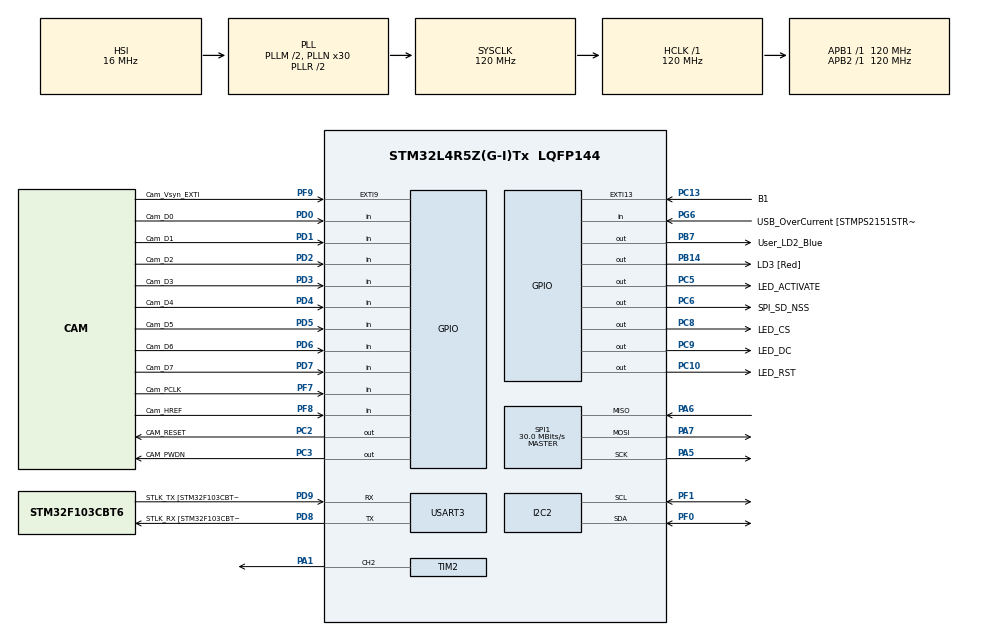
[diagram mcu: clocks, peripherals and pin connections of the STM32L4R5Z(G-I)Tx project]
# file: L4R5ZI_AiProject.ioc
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FATFS._FS_TINY=0
FATFS._MAX_SS=4096
FATFS._USE_LFN=1
I2C2.Timing=0x307075B1
Mcu.Family=STM32L4
Mcu.Name=STM32L4R5Z(G-I)Tx
Mcu.Package=LQFP144
NVIC.EXTI15_10_IRQn=true\:0\:0\:false\:false\:true\:true\:true
NVIC.EXTI9_5_IRQn=true\:0\:0\:true\:false\:true\:true\:true
NVIC.PriorityGroup=NVIC_PRIORITYGROUP_4
PA1.Signal=S_TIM2_CH2
PA13\ (JTMS/SWDIO).Mode=Trace_Asynchronous_SW
PA13\ (JTMS/SWDIO).Signal=SYS_JTMS-SWDIO
PA14\ (JTCK/SWCLK).Mode=Trace_Asynchronous_SW
PA14\ (JTCK/SWCLK).Signal=SYS_JTCK-SWCLK
PA5.Mode=Full_Duplex_Master
PA5.Signal=SPI1_SCK
PA6.Mode=Full_Duplex_Master
PA6.Signal=SPI1_MISO
PA7.Mode=Full_Duplex_Master
PA7.Signal=SPI1_MOSI
PB14.GPIO_Label=LD3 [Red]
PB14.Signal=GPIO_Output
PB3\ (JTDO/TRACESWO).GPIO_Label=SWO
PB3\ (JTDO/TRACESWO).Mode=Trace_Asynchronous_SW
PB3\ (JTDO/TRACESWO).Signal=SYS_JTDO-SWO
PB7.GPIO_Label=User_LD2_Blue
PB7.Signal=GPIO_Output
PC10.GPIO_Label=LED_RST
PC10.Signal=GPIO_Output
PC13.GPIO_Label=B1
PC13.Signal=GPXTI13
PC14-OSC32_IN\ (PC14).Signal=RCC_OSC32_IN
PC15-OSC32_OUT\ (PC15).Signal=RCC_OSC32_OUT
PC2.GPIO_Label=CAM_RESET
PC2.Signal=GPIO_Output
PC3.GPIO_Label=CAM_PWDN
PC3.Signal=GPIO_Output
PC5.GPIO_Label=LED_ACTIVATE
PC5.Signal=GPIO_Output
PC6.GPIO_Label=SPI_SD_NSS
PC6.Signal=GPIO_Output
PC8.GPIO_Label=LED_CS
PC8.Signal=GPIO_Output
PC9.GPIO_Label=LED_DC
PC9.Signal=GPIO_Output
PD0.GPIO_Label=Cam_D0
PD0.Signal=GPIO_Input
PD1.GPIO_Label=Cam_D1
PD1.Signal=GPIO_Input
PD2.GPIO_Label=Cam_D2
PD2.Signal=GPIO_Input
PD3.GPIO_Label=Cam_D3
PD3.Signal=GPIO_Input
PD4.GPIO_Label=Cam_D4
PD4.Signal=GPIO_Input
PD5.GPIO_Label=Cam_D5
PD5.Signal=GPIO_Input
PD6.GPIO_Label=Cam_D6
PD6.Signal=GPIO_Input
PD7.GPIO_Label=Cam_D7
PD7.Signal=GPIO_Input
PD8.GPIO_Label=STLK_RX [STM32F103CBT6_PA3]
PD8.Mode=Asynchronous
PD8.Signal=USART3_TX
PD9.GPIO_Label=STLK_TX [STM32F103CBT6_PA2]
PD9.Mode=Asynchronous
PD9.Signal=USART3_RX
PF0.Mode=I2C
PF0.Signal=I2C2_SDA
PF1.Mode=I2C
PF1.Signal=I2C2_SCL
PF7.GPIO_Label=Cam_PCLK
PF7.Signal=GPIO_Input
PF8.GPIO_Label=Cam_HREF
PF8.Signal=GPIO_Input
PF9.GPIO_Label=Cam_Vsyn_EXTI
PF9.Signal=GPXTI9
PG6.GPIO_Label=USB_OverCurrent [STMPS2151STR_FAULT]
PG6.Signal=GPIO_Input
PG7.GPIO_Label=STLINK_TX
PG7.Signal=LPUART1_TX
PG8.GPIO_Label=STLINK_RX
PG8.Signal=LPUART1_RX
PH0-OSC_IN\ (PH0).Mode=HSE-External-Oscillator
PH0-OSC_IN\ (PH0).Signal=RCC_OSC_IN
PH1-OSC_OUT\ (PH1).Mode=HSE-External-Oscillator
PH1-OSC_OUT\ (PH1).Signal=RCC_OSC_OUT
ProjectManager.HeapSize=0x200
ProjectManager.StackSize=0x400
ProjectManager.TargetToolchain=STM32CubeIDE
RCC.48MHZClocksFreq_Value=24000000
RCC.ADCFreq_Value=96000000
RCC.AHBFreq_Value=120000000
RCC.APB1Freq_Value=120000000
RCC.APB1TimFreq_Value=120000000
RCC.APB2Freq_Value=120000000
RCC.APB2TimFreq_Value=120000000
RCC.CK48CLockSelection=RCC_USBCLKSOURCE_HSI48
RCC.CortexFreq_Value=120000000
RCC.HCLKFreq_Value=120000000
RCC.HSE_VALUE=8000000
RCC.HSI48_VALUE=48000000
RCC.HSI_VALUE=16000000
RCC.LSE_VALUE=32768
RCC.MSI_VALUE=4000000
RCC.PLLM1=2
RCC.PLLMUL=RCC_PLL_MUL9
RCC.PLLN=30
RCC.PLLSAI1N=12
RCC.PLLSourceVirtual=RCC_PLLSOURCE_HSI
RCC.PRESCALERUSB=RCC_USBCLKSOURCE_PLL_DIV1_5
RCC.SYSCLKFreq_VALUE=120000000
RCC.SYSCLKSource=RCC_SYSCLKSOURCE_PLLCLK
RCC.SYSCLKSourceVirtual=RCC_SYSCLKSOURCE_PLLCLK
RCC.USBFreq_Value=48000000
RCC.VCOOutputFreq_Value=240000000
SH.S_TIM2_CH2.0=TIM2_CH2,PWM Generation2 CH2
SPI1.BaudRatePrescaler=SPI_BAUDRATEPRESCALER_4
SPI1.CalculateBaudRate=30.0 MBits/s
SPI1.DataSize=SPI_DATASIZE_8BIT
SPI1.Direction=SPI_DIRECTION_2LINES
SPI1.Mode=SPI_MODE_MASTER
SPI1.VirtualType=VM_MASTER
TIM2.AutoReloadPreload=TIM_AUTORELOAD_PRELOAD_DISABLE
TIM2.Channel-PWM\ Generation2\ CH2=TIM_CHANNEL_2
TIM2.Period=1
TIM2.Prescaler=5-1
TIM2.Pulse-PWM\ Generation2\ CH2=0
TIM6.Period=65535
TIM6.Prescaler=3-1
TIM7.Prescaler=12-1
USART3.VirtualMode-Asynchronous=VM_ASYNC
VP_FATFS_VS_Generic.Mode=User_defined
VP_TIM2_VS_ClockSourceINT.Mode=Internal
VP_TIM6_VS_ClockSourceINT.Mode=Enable_Timer
VP_TIM7_VS_ClockSourceINT.Mode=Enable_Timer
board=NUCLEO-L4R5ZI

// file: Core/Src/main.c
/* USER CODE BEGIN Header */
/**
  ******************************************************************************
  * @file           : main.c
  * @brief          : Main program body
  ******************************************************************************
  * @attention
  *
  * <h2><center>&copy; Copyright (c) 2021 STMicroelectronics.
  * All rights reserved.</center></h2>
  *
  * This software component is licensed by ST under BSD 3-Clause license,
  * the "License"; You may not use this file except in compliance with the
  * License. You may obtain a copy of the License at:
  *                        opensource.org/licenses/BSD-3-Clause
  *
  ******************************************************************************
  */
/* USER CODE END Header */
#include "main.h"
#include "fatfs.h"

/* USER CODE BEGIN Includes */
#include "ov7670Init.h"
#include "ImageProccess.h"
#include "ILI9341_STM32_Driver.h"
#include "ILI9341_GFX.h"
#include "fatfs_sd.h"
#include <string.h>
#include <stdio.h>
#include "sdCard.h"
/* USER CODE END Includes */

I2C_HandleTypeDef hi2c2;

SPI_HandleTypeDef hspi1;

TIM_HandleTypeDef htim2;
TIM_HandleTypeDef htim6;
TIM_HandleTypeDef htim7;

UART_HandleTypeDef huart3;

void SystemClock_Config(void);
static void MX_GPIO_Init(void);
static void MX_USART3_UART_Init(void);
static void MX_TIM6_Init(void);
static void MX_TIM7_Init(void);
static void MX_TIM2_Init(void);
static void MX_I2C2_Init(void);
static void MX_SPI1_Init(void);

int main(void)
{

  /* MCU Configuration--------------------------------------------------------*/

  /* Reset of all peripherals, Initializes the Flash interface and the Systick. */
  HAL_Init();

  /* Configure the system clock */
  SystemClock_Config();

  /* Initialize all configured peripherals */
  MX_GPIO_Init();
  MX_USART3_UART_Init();
  MX_TIM6_Init();
  MX_TIM7_Init();
  MX_TIM2_Init();
  MX_I2C2_Init();
  MX_FATFS_Init();
  MX_SPI1_Init();
  /* USER CODE BEGIN 2 */

  //Start timer6 and timer7 counting
  HAL_TIM_Base_Start(&htim6);
  HAL_TIM_Base_Start(&htim7);

  //APB1 Bus 120Mhz, Prescaler value = 4
  //Obtained frequency = 120/ (5) = 24 Mhz

  //Create PWM wave
  HAL_TIM_PWM_Start(&htim2, TIM_CHANNEL_2);
  __HAL_TIM_SetCompare(&htim2,TIM_CHANNEL_2,1);

  /***** SD CARD Mounting and NSS PIN Settings *******/
	mountSDcard();

  HAL_GPIO_WritePin(GPIOC, SPI_SD_NSS_Pin, SET);

  /*********ILI9341 Initialization************/

  //Initialize LED settings

  //initial driver setup to drive ili9341
  ILI9341_Init();
   // Give 100 ms delay for initializing
   HAL_Delay(100);

  /***********OV7670 Cam Codes...****************/

  ConfigurePWDNandRESETpins();

  HAL_Delay(20);

   ov7670_init();

   HAL_Delay(1000);

ILI9341_Draw_MultiText("Hold the image you want to save inside the rectangle.", 130, RED, BLACK);

  /* USER CODE END 2 */

  /* Infinite loop */
  /* USER CODE BEGIN WHILE */
  while (1)
  {

	 GetFramesFromOvCam();

    /* USER CODE END WHILE */

  }
}

void SystemClock_Config(void)
{
  RCC_OscInitTypeDef RCC_OscInitStruct = {0};
  RCC_ClkInitTypeDef RCC_ClkInitStruct = {0};

  /** Configure the main internal regulator output voltage
  */
  if (HAL_PWREx_ControlVoltageScaling(PWR_REGULATOR_VOLTAGE_SCALE1_BOOST) != HAL_OK)
  {
    Error_Handler();
  }
  /** Initializes the RCC Oscillators according to the specified parameters
  * in the RCC_OscInitTypeDef structure.
  */
  RCC_OscInitStruct.OscillatorType = RCC_OSCILLATORTYPE_HSI;
  RCC_OscInitStruct.HSIState = RCC_HSI_ON;
  RCC_OscInitStruct.HSICalibrationValue = RCC_HSICALIBRATION_DEFAULT;
  RCC_OscInitStruct.PLL.PLLState = RCC_PLL_ON;
  RCC_OscInitStruct.PLL.PLLSource = RCC_PLLSOURCE_HSI;
  RCC_OscInitStruct.PLL.PLLM = 2;
  RCC_OscInitStruct.PLL.PLLN = 30;
  RCC_OscInitStruct.PLL.PLLP = RCC_PLLP_DIV2;
  RCC_OscInitStruct.PLL.PLLQ = RCC_PLLQ_DIV2;
  RCC_OscInitStruct.PLL.PLLR = RCC_PLLR_DIV2;
  if (HAL_RCC_OscConfig(&RCC_OscInitStruct) != HAL_OK)
  {
    Error_Handler();
  }
  /** Initializes the CPU, AHB and APB buses clocks
  */
  RCC_ClkInitStruct.ClockType = RCC_CLOCKTYPE_HCLK|RCC_CLOCKTYPE_SYSCLK
                              |RCC_CLOCKTYPE_PCLK1|RCC_CLOCKTYPE_PCLK2;
  RCC_ClkInitStruct.SYSCLKSource = RCC_SYSCLKSOURCE_PLLCLK;
  RCC_ClkInitStruct.AHBCLKDivider = RCC_SYSCLK_DIV1;
  RCC_ClkInitStruct.APB1CLKDivider = RCC_HCLK_DIV1;
  RCC_ClkInitStruct.APB2CLKDivider = RCC_HCLK_DIV1;

  if (HAL_RCC_ClockConfig(&RCC_ClkInitStruct, FLASH_LATENCY_5) != HAL_OK)
  {
    Error_Handler();
  }
}

static void MX_I2C2_Init(void)
{

  hi2c2.Instance = I2C2;
  hi2c2.Init.Timing = 0x307075B1;
  hi2c2.Init.OwnAddress1 = 0;
  hi2c2.Init.AddressingMode = I2C_ADDRESSINGMODE_7BIT;
  hi2c2.Init.DualAddressMode = I2C_DUALADDRESS_DISABLE;
  hi2c2.Init.OwnAddress2 = 0;
  hi2c2.Init.OwnAddress2Masks = I2C_OA2_NOMASK;
  hi2c2.Init.GeneralCallMode = I2C_GENERALCALL_DISABLE;
  hi2c2.Init.NoStretchMode = I2C_NOSTRETCH_DISABLE;
  if (HAL_I2C_Init(&hi2c2) != HAL_OK)
  {
    Error_Handler();
  }
  /** Configure Analogue filter
  */
  if (HAL_I2CEx_ConfigAnalogFilter(&hi2c2, I2C_ANALOGFILTER_ENABLE) != HAL_OK)
  {
    Error_Handler();
  }
  /** Configure Digital filter
  */
  if (HAL_I2CEx_ConfigDigitalFilter(&hi2c2, 0) != HAL_OK)
  {
    Error_Handler();
  }

}

static void MX_SPI1_Init(void)
{

  /* SPI1 parameter configuration*/
  hspi1.Instance = SPI1;
  hspi1.Init.Mode = SPI_MODE_MASTER;
  hspi1.Init.Direction = SPI_DIRECTION_2LINES;
  hspi1.Init.DataSize = SPI_DATASIZE_8BIT;
  hspi1.Init.CLKPolarity = SPI_POLARITY_LOW;
  hspi1.Init.CLKPhase = SPI_PHASE_1EDGE;
  hspi1.Init.NSS = SPI_NSS_SOFT;
  hspi1.Init.BaudRatePrescaler = SPI_BAUDRATEPRESCALER_4;
  hspi1.Init.FirstBit = SPI_FIRSTBIT_MSB;
  hspi1.Init.TIMode = SPI_TIMODE_DISABLE;
  hspi1.Init.CRCCalculation = SPI_CRCCALCULATION_DISABLE;
  hspi1.Init.CRCPolynomial = 7;
  hspi1.Init.CRCLength = SPI_CRC_LENGTH_DATASIZE;
  hspi1.Init.NSSPMode = SPI_NSS_PULSE_ENABLE;
  if (HAL_SPI_Init(&hspi1) != HAL_OK)
  {
    Error_Handler();
  }

}

static void MX_TIM2_Init(void)
{

  TIM_ClockConfigTypeDef sClockSourceConfig = {0};
  TIM_MasterConfigTypeDef sMasterConfig = {0};
  TIM_OC_InitTypeDef sConfigOC = {0};

  htim2.Instance = TIM2;
  htim2.Init.Prescaler = 5-1;
  htim2.Init.CounterMode = TIM_COUNTERMODE_UP;
  htim2.Init.Period = 1;
  htim2.Init.ClockDivision = TIM_CLOCKDIVISION_DIV1;
  htim2.Init.AutoReloadPreload = TIM_AUTORELOAD_PRELOAD_DISABLE;
  if (HAL_TIM_Base_Init(&htim2) != HAL_OK)
  {
    Error_Handler();
  }
  sClockSourceConfig.ClockSource = TIM_CLOCKSOURCE_INTERNAL;
  if (HAL_TIM_ConfigClockSource(&htim2, &sClockSourceConfig) != HAL_OK)
  {
    Error_Handler();
  }
  if (HAL_TIM_PWM_Init(&htim2) != HAL_OK)
  {
    Error_Handler();
  }
  sMasterConfig.MasterOutputTrigger = TIM_TRGO_RESET;
  sMasterConfig.MasterSlaveMode = TIM_MASTERSLAVEMODE_DISABLE;
  if (HAL_TIMEx_MasterConfigSynchronization(&htim2, &sMasterConfig) != HAL_OK)
  {
    Error_Handler();
  }
  sConfigOC.OCMode = TIM_OCMODE_PWM1;
  sConfigOC.Pulse = 0;
  sConfigOC.OCPolarity = TIM_OCPOLARITY_HIGH;
  sConfigOC.OCFastMode = TIM_OCFAST_DISABLE;
  if (HAL_TIM_PWM_ConfigChannel(&htim2, &sConfigOC, TIM_CHANNEL_2) != HAL_OK)
  {
    Error_Handler();
  }
  HAL_TIM_MspPostInit(&htim2);

}

static void MX_TIM6_Init(void)
{

  TIM_MasterConfigTypeDef sMasterConfig = {0};

  htim6.Instance = TIM6;
  htim6.Init.Prescaler = 3-1;
  htim6.Init.CounterMode = TIM_COUNTERMODE_UP;
  htim6.Init.Period = 65535;
  htim6.Init.AutoReloadPreload = TIM_AUTORELOAD_PRELOAD_DISABLE;
  if (HAL_TIM_Base_Init(&htim6) != HAL_OK)
  {
    Error_Handler();
  }
  sMasterConfig.MasterOutputTrigger = TIM_TRGO_RESET;
  sMasterConfig.MasterSlaveMode = TIM_MASTERSLAVEMODE_DISABLE;
  if (HAL_TIMEx_MasterConfigSynchronization(&htim6, &sMasterConfig) != HAL_OK)
  {
    Error_Handler();
  }

}

static void MX_TIM7_Init(void)
{

  TIM_MasterConfigTypeDef sMasterConfig = {0};

  htim7.Instance = TIM7;
  htim7.Init.Prescaler = 12-1;
  htim7.Init.CounterMode = TIM_COUNTERMODE_UP;
  htim7.Init.Period = 65535;
  htim7.Init.AutoReloadPreload = TIM_AUTORELOAD_PRELOAD_DISABLE;
  if (HAL_TIM_Base_Init(&htim7) != HAL_OK)
  {
    Error_Handler();
  }
  sMasterConfig.MasterOutputTrigger = TIM_TRGO_RESET;
  sMasterConfig.MasterSlaveMode = TIM_MASTERSLAVEMODE_DISABLE;
  if (HAL_TIMEx_MasterConfigSynchronization(&htim7, &sMasterConfig) != HAL_OK)
  {
    Error_Handler();
  }

}

static void MX_USART3_UART_Init(void)
{

  huart3.Instance = USART3;
  huart3.Init.BaudRate = 115200;
  huart3.Init.WordLength = UART_WORDLENGTH_8B;
  huart3.Init.StopBits = UART_STOPBITS_1;
  huart3.Init.Parity = UART_PARITY_NONE;
  huart3.Init.Mode = UART_MODE_TX_RX;
  huart3.Init.HwFlowCtl = UART_HWCONTROL_NONE;
  huart3.Init.OverSampling = UART_OVERSAMPLING_16;
  huart3.Init.OneBitSampling = UART_ONE_BIT_SAMPLE_DISABLE;
  huart3.Init.ClockPrescaler = UART_PRESCALER_DIV1;
  huart3.AdvancedInit.AdvFeatureInit = UART_ADVFEATURE_NO_INIT;
  if (HAL_UART_Init(&huart3) != HAL_OK)
  {
    Error_Handler();
  }
  if (HAL_UARTEx_SetTxFifoThreshold(&huart3, UART_TXFIFO_THRESHOLD_1_8) != HAL_OK)
  {
    Error_Handler();
  }
  if (HAL_UARTEx_SetRxFifoThreshold(&huart3, UART_RXFIFO_THRESHOLD_1_8) != HAL_OK)
  {
    Error_Handler();
  }
  if (HAL_UARTEx_DisableFifoMode(&huart3) != HAL_OK)
  {
    Error_Handler();
  }

}

static void MX_GPIO_Init(void)
{
  GPIO_InitTypeDef GPIO_InitStruct = {0};

  /* GPIO Ports Clock Enable */
  __HAL_RCC_GPIOC_CLK_ENABLE();
  __HAL_RCC_GPIOF_CLK_ENABLE();
  __HAL_RCC_GPIOH_CLK_ENABLE();
  __HAL_RCC_GPIOA_CLK_ENABLE();
  __HAL_RCC_GPIOB_CLK_ENABLE();
  __HAL_RCC_GPIOD_CLK_ENABLE();
  __HAL_RCC_GPIOG_CLK_ENABLE();
  HAL_PWREx_EnableVddIO2();

  /*Configure GPIO pin Output Level */
  HAL_GPIO_WritePin(GPIOC, CAM_RESET_Pin|CAM_PWDN_Pin|LED_ACTIVATE_Pin|SPI_SD_NSS_Pin
                          |LED_CS_Pin|LED_DC_Pin|LED_RST_Pin, GPIO_PIN_RESET);

  /*Configure GPIO pin Output Level */
  HAL_GPIO_WritePin(GPIOB, LD3_Pin|User_LD2_Blue_Pin, GPIO_PIN_RESET);

  /*Configure GPIO pin : B1_Pin */
  GPIO_InitStruct.Pin = B1_Pin;
  GPIO_InitStruct.Mode = GPIO_MODE_IT_RISING;
  GPIO_InitStruct.Pull = GPIO_NOPULL;
  HAL_GPIO_Init(B1_GPIO_Port, &GPIO_InitStruct);

  /*Configure GPIO pins : Cam_PCLK_Pin Cam_HREF_Pin */
  GPIO_InitStruct.Pin = Cam_PCLK_Pin|Cam_HREF_Pin;
  GPIO_InitStruct.Mode = GPIO_MODE_INPUT;
  GPIO_InitStruct.Pull = GPIO_NOPULL;
  HAL_GPIO_Init(GPIOF, &GPIO_InitStruct);

  /*Configure GPIO pin : Cam_Vsyn_EXTI_Pin */
  GPIO_InitStruct.Pin = Cam_Vsyn_EXTI_Pin;
  GPIO_InitStruct.Mode = GPIO_MODE_IT_RISING;
  GPIO_InitStruct.Pull = GPIO_NOPULL;
  HAL_GPIO_Init(Cam_Vsyn_EXTI_GPIO_Port, &GPIO_InitStruct);

  /*Configure GPIO pins : CAM_RESET_Pin CAM_PWDN_Pin LED_ACTIVATE_Pin SPI_SD_NSS_Pin
                           LED_CS_Pin LED_DC_Pin LED_RST_Pin */
  GPIO_InitStruct.Pin = CAM_RESET_Pin|CAM_PWDN_Pin|LED_ACTIVATE_Pin|SPI_SD_NSS_Pin
                          |LED_CS_Pin|LED_DC_Pin|LED_RST_Pin;
  GPIO_InitStruct.Mode = GPIO_MODE_OUTPUT_PP;
  GPIO_InitStruct.Pull = GPIO_NOPULL;
  GPIO_InitStruct.Speed = GPIO_SPEED_FREQ_LOW;
  HAL_GPIO_Init(GPIOC, &GPIO_InitStruct);

  /*Configure GPIO pins : LD3_Pin User_LD2_Blue_Pin */
  GPIO_InitStruct.Pin = LD3_Pin|User_LD2_Blue_Pin;
  GPIO_InitStruct.Mode = GPIO_MODE_OUTPUT_PP;
  GPIO_InitStruct.Pull = GPIO_NOPULL;
  GPIO_InitStruct.Speed = GPIO_SPEED_FREQ_LOW;
  HAL_GPIO_Init(GPIOB, &GPIO_InitStruct);

  /*Configure GPIO pin : USB_OverCurrent_Pin */
  GPIO_InitStruct.Pin = USB_OverCurrent_Pin;
  GPIO_InitStruct.Mode = GPIO_MODE_INPUT;
  GPIO_InitStruct.Pull = GPIO_NOPULL;
  HAL_GPIO_Init(USB_OverCurrent_GPIO_Port, &GPIO_InitStruct);

  /*Configure GPIO pins : STLINK_TX_Pin STLINK_RX_Pin */
  GPIO_InitStruct.Pin = STLINK_TX_Pin|STLINK_RX_Pin;
  GPIO_InitStruct.Mode = GPIO_MODE_AF_PP;
  GPIO_InitStruct.Pull = GPIO_NOPULL;
  GPIO_InitStruct.Speed = GPIO_SPEED_FREQ_VERY_HIGH;
  GPIO_InitStruct.Alternate = GPIO_AF8_LPUART1;
  HAL_GPIO_Init(GPIOG, &GPIO_InitStruct);

  /*Configure GPIO pins : Cam_D0_Pin Cam_D1_Pin Cam_D2_Pin Cam_D3_Pin
                           Cam_D4_Pin Cam_D5_Pin Cam_D6_Pin Cam_D7_Pin */
  GPIO_InitStruct.Pin = Cam_D0_Pin|Cam_D1_Pin|Cam_D2_Pin|Cam_D3_Pin
                          |Cam_D4_Pin|Cam_D5_Pin|Cam_D6_Pin|Cam_D7_Pin;
  GPIO_InitStruct.Mode = GPIO_MODE_INPUT;
  GPIO_InitStruct.Pull = GPIO_NOPULL;
  HAL_GPIO_Init(GPIOD, &GPIO_InitStruct);

  /* EXTI interrupt init*/
  HAL_NVIC_SetPriority(EXTI9_5_IRQn, 0, 0);
  HAL_NVIC_EnableIRQ(EXTI9_5_IRQn);

  HAL_NVIC_SetPriority(EXTI15_10_IRQn, 0, 0);
  HAL_NVIC_EnableIRQ(EXTI15_10_IRQn);

}

/* USER CODE BEGIN 4 */

void HAL_SPI_TxCpltCallback(SPI_HandleTypeDef *hspi)
{

//__HAL_DMA_DISABLE(&hdma_spi1_tx);
//	__HAL_SPI_DISABLE(&hspi1);
//	CLEAR_BIT((&hspi1)->Instance->CR2, SPI_CR2_TXDMAEN);
	HAL_GPIO_WritePin(GPIOC, LED_CS_Pin, GPIO_PIN_SET);

}
/* USER CODE END 4 */

void Error_Handler(void)
{
  __disable_irq();
  while (1)
  {
  }
}

/************************ (C) COPYRIGHT STMicroelectronics *****END OF FILE****/
